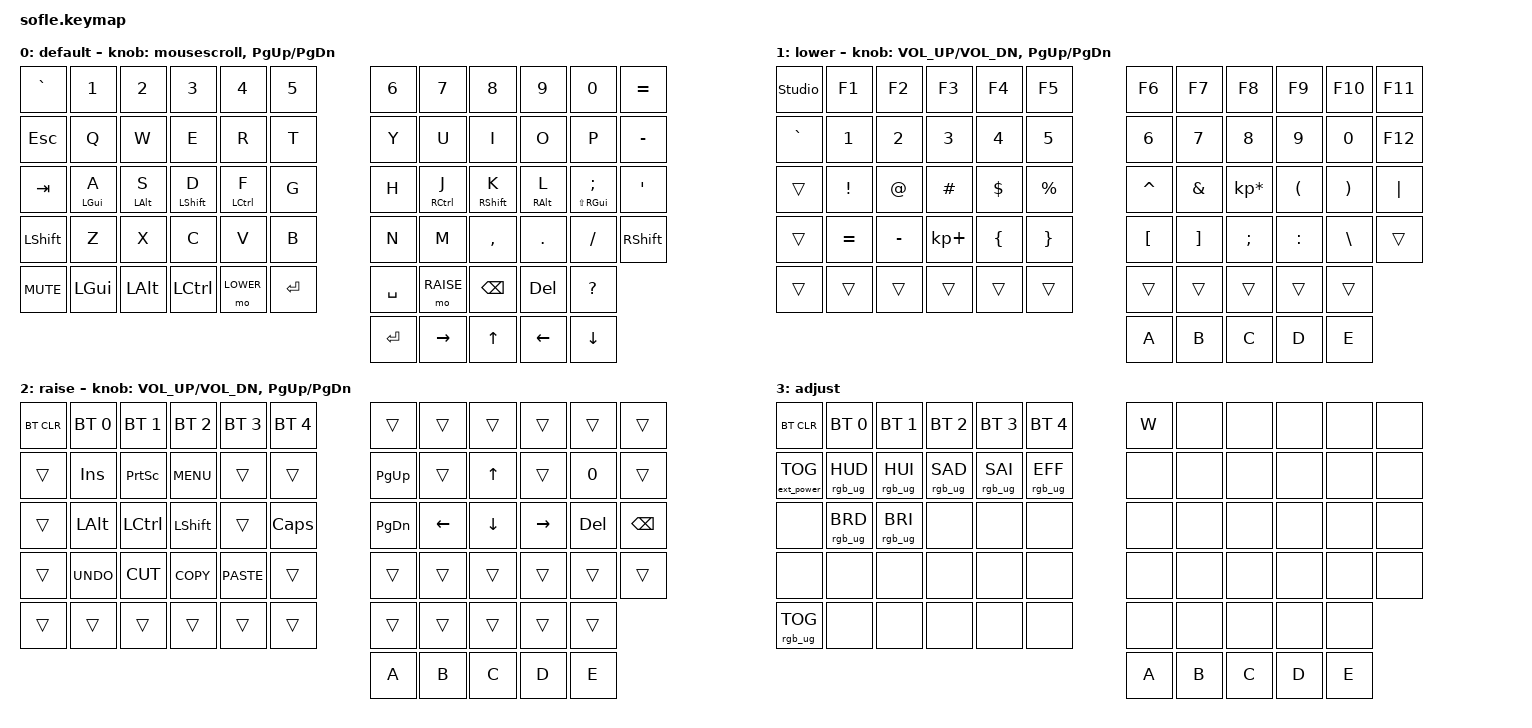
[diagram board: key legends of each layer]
/*
 * Copyright (c) 2020 The ZMK Contributors
 *
 * SPDX-License-Identifier: MIT
 */

#include <behaviors.dtsi>
#include <dt-bindings/zmk/bt.h>
#include <dt-bindings/zmk/ext_power.h>
#include <dt-bindings/zmk/keys.h>
#include <dt-bindings/zmk/rgb.h>

#define BASE 0
#define LOWER 1
#define RAISE 2
#define ADJUST 3

&mt {
};

/ {
    // Activate ADJUST layer by pressing raise and lower

    conditional_layers {
        compatible = "zmk,conditional-layers";

        adjust_layer {
            if-layers = <LOWER RAISE>;
            then-layer = <ADJUST>;
        };
    };

    keymap {
        compatible = "zmk,keymap";

        default_layer {
            label = "default";

            // ------------------------------------------------------------------------------------------------------------
            // |   `   |  1  |  2  |  3   |  4   |  5   |                   |  6   |  7    |  8    |  9   |   0   |       |
            // |  ESC  |  Q  |  W  |  E   |  R   |  T   |                   |  Y   |  U    |  I    |  O   |   P   | BKSPC |
            // |  TAB  |  A  |  S  |  D   |  F   |  G   |                   |  H   |  J    |  K    |  L   |   ;   |   '   |
            // | SHIFT |  Z  |  X  |  C   |  V   |  B   |  MUTE  |  |       |  N   |  M    |  ,    |  .   |   /   | SHIFT |
            //               | GUI | ALT  | CTRL | LOWER|  ENTER |  | SPACE | RAISE| CTRL  | ALT   | GUI  |

            bindings = <
&kp GRAVE       &kp N1          &kp N2          &kp N3            &kp N4              &kp N5                              &kp N6     &kp N7               &kp N8             &kp N9           &kp N0                       &kp EQUAL
&kp ESCAPE      &kp Q           &kp W           &kp E             &kp R               &kp T                               &kp Y      &kp U                &kp I              &kp O            &kp P                        &kp MINUS
&kp TAB         &mt LEFT_GUI A  &mt LEFT_ALT S  &mt LEFT_SHIFT D  &mt LEFT_CONTROL F  &kp G                               &kp H      &mt RIGHT_CONTROL J  &mt RIGHT_SHIFT K  &mt RIGHT_ALT L  &mt LS(RIGHT_GUI) SEMICOLON  &kp SQT
&kp LEFT_SHIFT  &kp Z           &kp X           &kp C             &kp V               &kp B                               &kp N      &kp M                &kp COMMA          &kp DOT          &kp FSLH                     &kp RSHFT
&kp C_MUTE      &kp LEFT_GUI    &kp LALT        &kp LCTRL         &mo LOWER           &kp RETURN                          &kp SPACE  &mo RAISE            &kp BACKSPACE      &kp DELETE       &kp QUESTION
                                                                                                                          &kp ENTER  &kp RIGHT  &kp UP  &kp LEFT  &kp DOWN
            >;

            sensor-bindings = <&mousescroll &inc_dec_kp PG_UP PG_DN>;
        };

        lower_layer {
            label = "lower";

            // TODO: Some binds are waiting for shifted keycode support.
            // ------------------------------------------------------------------------------------------------------------
            // |       |  F1 |  F2 |  F3  |  F4  |  F5  |                   |  F6  |  F7   |  F8   |  F9  |  F10  |  F11  |
            // |   `   |  1  |  2  |  3   |  4   |  5   |                   |  6   |  7    |  8    |  9   |   0   |  F12  |
            // |       |  !  |  @  |  #   |  $   |  %   |                   |  ^   |  &    |  *    |  (   |   )   |   |   |
            // |       |  =  |  -  |  +   |  {   |  }   |        |  |       |  [   |  ]    |  ;    |  :   |   \   |       |
            //               |     |      |      |      |        |  |       |      |       |       |      |

            bindings = <
&studio_unlock  &kp F1     &kp F2     &kp F3       &kp F4    &kp F5                       &kp F6     &kp F7    &kp F8           &kp F9     &kp F10   &kp F11
&kp GRAVE       &kp N1     &kp N2     &kp N3       &kp N4    &kp N5                       &kp N6     &kp N7    &kp N8           &kp N9     &kp N0    &kp F12
&trans          &kp EXCL   &kp AT     &kp HASH     &kp DLLR  &kp PRCNT                    &kp CARET  &kp AMPS  &kp KP_MULTIPLY  &kp LPAR   &kp RPAR  &kp PIPE
&trans          &kp EQUAL  &kp MINUS  &kp KP_PLUS  &kp LBRC  &kp RBRC                     &kp LBKT   &kp RBKT  &kp SEMI         &kp COLON  &kp BSLH  &trans
&trans          &trans     &trans     &trans       &trans    &trans                       &trans     &trans    &trans           &trans     &trans
                                                                                          &kp A      &kp B     &kp C      &kp D      &kp E
            >;

            sensor-bindings = <&inc_dec_kp C_VOL_UP C_VOL_DN &inc_dec_kp PG_UP PG_DN>;
        };

        raise_layer {
            label = "raise";

            // ------------------------------------------------------------------------------------------------------------
            // | BTCLR | BT1  | BT2  |  BT3  |  BT4  |  BT5 |                |      |      |       |      |       |       |
            // |       | INS  | PSCR | GUI   |       |      |                | PGUP |      |   ^   |      |       |       |
            // |       | ALT  | CTRL | SHIFT |       | CAPS |                | PGDN |   <- |   v   |  ->  |  DEL  | BKSPC |
            // |       | UNDO | CUT  | COPY  | PASTE |      |      |  |      |      |      |       |      |       |       |
            //                |      |       |       |      |      |  |      |      |      |       |      |

            bindings = <
&bt BT_CLR  &bt BT_SEL 0  &bt BT_SEL 1  &bt BT_SEL 2  &bt BT_SEL 3  &bt BT_SEL 4                    &trans     &trans    &trans    &trans     &trans   &trans
&trans      &kp INS       &kp PSCRN     &kp C_MENU    &trans        &trans                          &kp PG_UP  &trans    &kp UP    &trans     &kp N0   &trans
&trans      &kp LALT      &kp LCTRL     &kp LSHFT     &trans        &kp CLCK                        &kp PG_DN  &kp LEFT  &kp DOWN  &kp RIGHT  &kp DEL  &kp BSPC
&trans      &kp K_UNDO    &kp K_CUT     &kp K_COPY    &kp K_PASTE   &trans                          &trans     &trans    &trans    &trans     &trans   &trans
&trans      &trans        &trans        &trans        &trans        &trans                          &trans     &trans    &trans    &trans     &trans
                                                                                                    &kp A      &kp B     &kp C     &kp D      &kp E
            >;

            sensor-bindings = <&inc_dec_kp C_VOL_UP C_VOL_DN &inc_dec_kp PG_UP PG_DN>;
        };

        adjust_layer {
            // ----------------------------------------------------------------------------------------------------------------------------
            // | BTCLR  |  BT1    |  BT2    |   BT3   |   BT4   |   BT5   |                  |      |      |       |      |       |       |
            // | EXTPWR | RGB_HUD | RGB_HUI | RGB_SAD | RGB_SAI | RGB_EFF |                  |      |      |       |      |       |       |
            // |        | RGB_BRD | RGB_BRI |         |         |         |                  |      |      |       |      |       |       |
            // |        |         |         |         |         |         | RGB_TOG | |      |      |      |       |      |       |       |
            //                    |         |         |         |         |         | |      |      |      |       |      |

            label = "adjust";
            bindings = <
&bt BT_CLR         &bt BT_SEL 0     &bt BT_SEL 1     &bt BT_SEL 2     &bt BT_SEL 3     &bt BT_SEL 4                               &kp W  &none  &none  &none  &none  &none
&ext_power EP_TOG  &rgb_ug RGB_HUD  &rgb_ug RGB_HUI  &rgb_ug RGB_SAD  &rgb_ug RGB_SAI  &rgb_ug RGB_EFF                            &none  &none  &none  &none  &none  &none
&none              &rgb_ug RGB_BRD  &rgb_ug RGB_BRI  &none            &none            &none                                      &none  &none  &none  &none  &none  &none
&none              &none            &none            &none            &none            &none                                      &none  &none  &none  &none  &none  &none
&rgb_ug RGB_TOG    &none            &none            &none            &none            &none                                      &none  &none  &none  &none  &none
                                                                                                                                  &kp A  &kp B  &kp C  &kp D  &kp E
            >;
        };
    };
};
